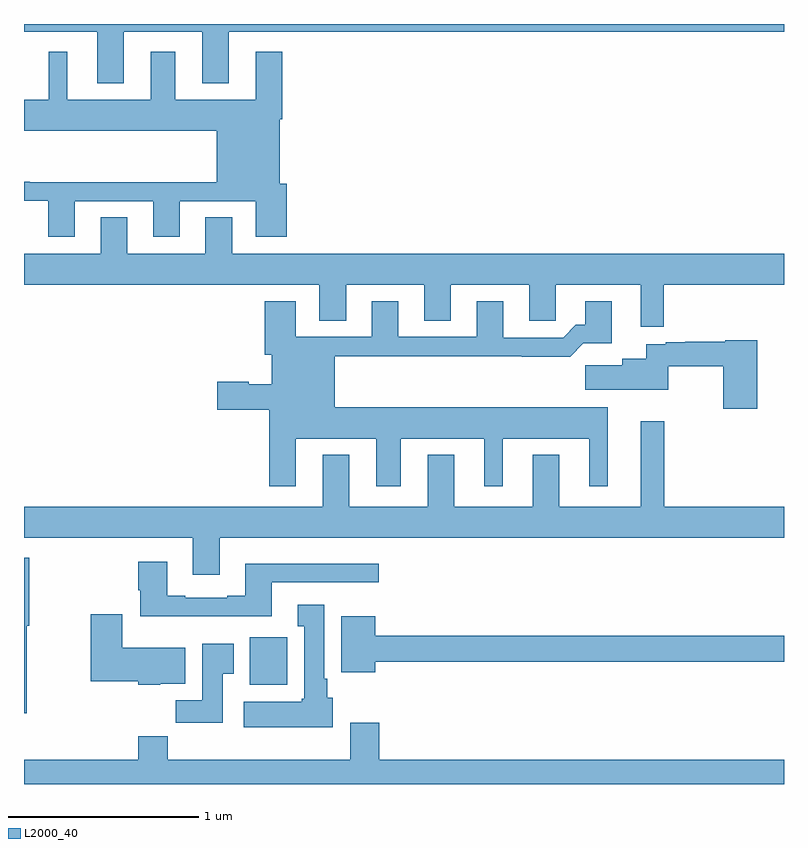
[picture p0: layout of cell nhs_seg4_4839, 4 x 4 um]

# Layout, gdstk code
import gdstk
lib = gdstk.Library(unit=1e-6, precision=1e-09)
def R(c, l, rs):  # rectangles x0, y0, x1, y1
    for r in rs: c.add(gdstk.rectangle(r[:2], r[2:], *l))
def P(c, l, *ps):  # polygons
    for p in ps: c.add(gdstk.Polygon(p, *l))
L2000_40 = (2000, 40)

nhs_seg4_4839 = lib.new_cell('nhs_seg4_4839')
R(nhs_seg4_4839, L2000_40, [(374.189,753.422,374.385,753.673)])
P(nhs_seg4_4839, L2000_40, [(373.525,756.86),(373.937,756.86),(373.937,756.587),(374.077,756.587),(374.077,756.86),(377,756.86),(377,756.9),(373,756.9),(373,756.86),(373.385,756.86),(373.385,756.587),(373.525,756.587)],
  [(373.267,755.967),(373.679,755.967),(373.679,755.781),(373.819,755.781),(373.819,755.967),(374.219,755.967),(374.219,755.781),(374.384,755.781),(374.384,756.06),(374.347,756.06),(374.347,756.398),(374.36,756.398),(374.36,756.754),(374.219,756.754),(374.219,756.502),(373.795,756.502),(373.795,756.754),(373.667,756.754),(373.667,756.502),(373.228,756.502),(373.228,756.754),(373.13,756.754),(373.13,756.502),(373,756.502),(373,756.338),(374.015,756.338),(374.015,756.068),(373.031,756.068),(373.031,756.071),(373,756.071),(373,755.97),(373.127,755.97),(373.127,755.781),(373.267,755.781)],
  [(376.368,755.528),(377,755.528),(377,755.692),(374.095,755.692),(374.095,755.882),(373.955,755.882),(373.955,755.692),(373.543,755.692),(373.543,755.882),(373.403,755.882),(373.403,755.692),(373,755.692),(373,755.528),(374.555,755.528),(374.555,755.338),(374.695,755.338),(374.695,755.528),(375.107,755.528),(375.107,755.338),(375.247,755.338),(375.247,755.528),(375.659,755.528),(375.659,755.338),(375.798,755.338),(375.798,755.528),(376.247,755.528),(376.247,755.307),(376.368,755.307)],
  [(374.431,754.718),(374.855,754.718),(374.855,754.467),(374.983,754.467),(374.983,754.718),(375.422,754.718),(375.422,754.467),(375.52,754.467),(375.52,754.718),(375.974,754.718),(375.974,754.467),(376.072,754.467),(376.072,754.882),(374.635,754.882),(374.635,755.152),(375.619,755.152),(375.619,755.15),(375.875,755.15),(375.944,755.219),(376.093,755.219),(376.093,755.44),(375.953,755.44),(375.953,755.317),(375.904,755.317),(375.837,755.25),(375.523,755.25),(375.523,755.44),(375.383,755.44),(375.383,755.253),(374.971,755.253),(374.971,755.44),(374.831,755.44),(374.831,755.253),(374.431,755.253),(374.431,755.44),(374.267,755.44),(374.267,755.16),(374.303,755.16),(374.303,755.005),(374.183,755.005),(374.183,755.018),(374.016,755.018),(374.016,754.871),(374.291,754.871),(374.291,754.467),(374.431,754.467)],
  [(376.859,755.235),(376.692,755.235),(376.692,755.227),(376.48,755.227),(376.48,755.226),(376.378,755.226),(376.378,755.214),(376.274,755.214),(376.274,755.137),(376.148,755.137),(376.148,755.105),(375.954,755.105),(375.954,754.976),(376.392,754.976),(376.392,755.098),(376.681,755.098),(376.681,754.875),(376.859,754.875)],
  [(374.029,754.196),(377,754.196),(377,754.36),(376.369,754.36),(376.369,754.81),(376.247,754.81),(376.247,754.36),(375.817,754.36),(375.817,754.633),(375.677,754.633),(375.677,754.36),(375.265,754.36),(375.265,754.633),(375.125,754.633),(375.125,754.36),(374.713,754.36),(374.713,754.633),(374.573,754.633),(374.573,754.36),(373,754.36),(373,754.196),(373.889,754.196),(373.889,754.002),(374.029,754.002)],
  [(373.015,753.734),(373.028,753.734),(373.028,754.09),(373,754.09),(373,753.272),(373.015,753.272)],
  [(374.305,753.963),(374.866,753.963),(374.866,754.06),(374.165,754.06),(374.165,753.892),(374.069,753.892),(374.069,753.879),(373.849,753.879),(373.849,753.892),(373.753,753.892),(373.753,754.069),(373.601,754.069),(373.601,753.921),(373.613,753.921),(373.613,753.782),(374.305,753.782)],
  [(374.626,753.354),(374.596,753.354),(374.596,753.454),(374.581,753.454),(374.581,753.844),(374.441,753.844),(374.441,753.731),(374.474,753.731),(374.474,753.348),(374.461,753.348),(374.461,753.334),(374.157,753.334),(374.157,753.2),(374.626,753.2)],
  [(373.716,753.428),(373.849,753.428),(373.849,753.616),(373.516,753.616),(373.516,753.793),(373.351,753.793),(373.351,753.44),(373.602,753.44),(373.602,753.422),(373.716,753.422)],
  [(374.848,753.544),(377,753.544),(377,753.68),(374.848,753.68),(374.848,753.784),(374.669,753.784),(374.669,753.488),(374.848,753.488)],
  [(374.047,753.481),(374.104,753.481),(374.104,753.637),(373.937,753.637),(373.937,753.34),(373.798,753.34),(373.798,753.222),(374.047,753.222)],
  [(374.717,753.223),(374.717,753.028),(373.757,753.028),(373.757,753.152),(373.601,753.152),(373.601,753.028),(373,753.028),(373,752.9),(377,752.9),(377,753.028),(374.87,753.028),(374.87,753.223)])

lib.write_gds('nhs_seg4_4839.gds')
